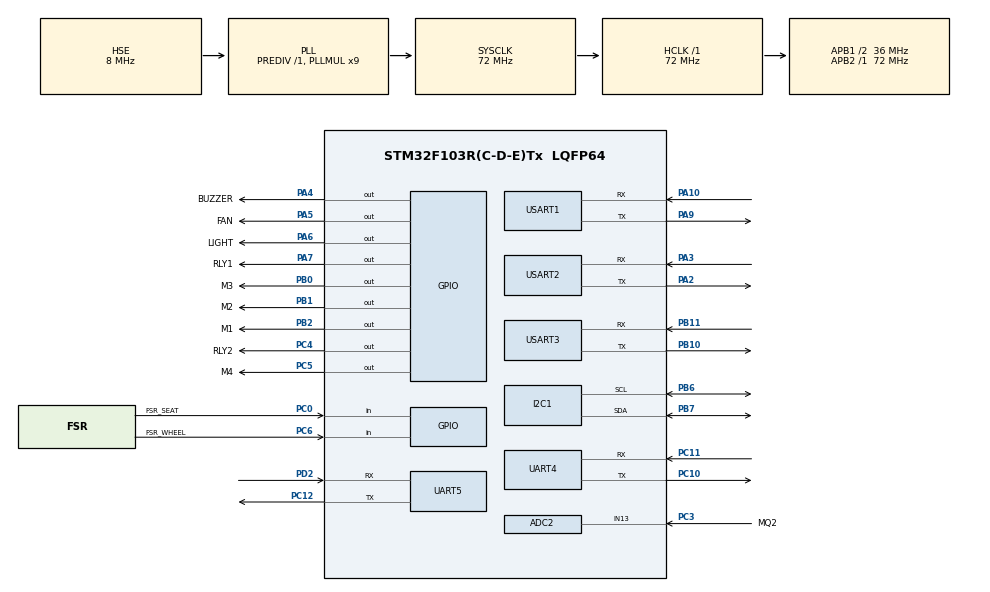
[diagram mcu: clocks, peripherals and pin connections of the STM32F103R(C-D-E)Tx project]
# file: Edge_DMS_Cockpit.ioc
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ADC2.Channel-3\#ChannelRegularConversion=ADC_CHANNEL_13
ADC2.NbrOfConversionFlag=1
ADC2.Rank-3\#ChannelRegularConversion=1
ADC2.SamplingTime-3\#ChannelRegularConversion=ADC_SAMPLETIME_1CYCLE_5
Dma.Request0=USART1_TX
Dma.Request1=USART1_RX
Dma.Request2=USART2_RX
Dma.USART1_RX.1.Direction=DMA_PERIPH_TO_MEMORY
Dma.USART1_RX.1.Instance=DMA1_Channel5
Dma.USART1_RX.1.MemDataAlignment=DMA_MDATAALIGN_BYTE
Dma.USART1_RX.1.MemInc=DMA_MINC_ENABLE
Dma.USART1_RX.1.Mode=DMA_NORMAL
Dma.USART1_RX.1.PeriphDataAlignment=DMA_PDATAALIGN_BYTE
Dma.USART1_RX.1.PeriphInc=DMA_PINC_DISABLE
Dma.USART1_RX.1.Priority=DMA_PRIORITY_HIGH
Dma.USART1_TX.0.Direction=DMA_MEMORY_TO_PERIPH
Dma.USART1_TX.0.Instance=DMA1_Channel4
Dma.USART1_TX.0.MemDataAlignment=DMA_MDATAALIGN_BYTE
Dma.USART1_TX.0.MemInc=DMA_MINC_ENABLE
Dma.USART1_TX.0.Mode=DMA_NORMAL
Dma.USART1_TX.0.PeriphDataAlignment=DMA_PDATAALIGN_BYTE
Dma.USART1_TX.0.PeriphInc=DMA_PINC_DISABLE
Dma.USART1_TX.0.Priority=DMA_PRIORITY_MEDIUM
Dma.USART2_RX.2.Direction=DMA_PERIPH_TO_MEMORY
Dma.USART2_RX.2.Instance=DMA1_Channel6
Dma.USART2_RX.2.MemDataAlignment=DMA_MDATAALIGN_BYTE
Dma.USART2_RX.2.MemInc=DMA_MINC_ENABLE
Dma.USART2_RX.2.Mode=DMA_NORMAL
Dma.USART2_RX.2.PeriphDataAlignment=DMA_PDATAALIGN_BYTE
Dma.USART2_RX.2.PeriphInc=DMA_PINC_DISABLE
Dma.USART2_RX.2.Priority=DMA_PRIORITY_MEDIUM
FREERTOS.Mutexes01=DataBusMutex,Dynamic,NULL,Available
FREERTOS.Tasks01=defaultTask,8,128,StartDefaultTask,Default,NULL,Dynamic,NULL,NULL;RadarTask,24,512,StartRadarTask,Default,NULL,Dynamic,NULL,NULL;Task_Report,24,128,StartReportTask,Default,NULL,Dynamic,NULL,NULL;Task_Parse,32,128,StartParseTask,Default,NULL,Dynamic,NULL,NULL;Task_Sensor,40,128,StartSensorTask,Default,NULL,Dynamic,NULL,NULL;TASK_HMI,24,128,StartHmiTask,Default,NULL,Dynamic,NULL,NULL;Task_Voice,24,128,StartVoiceTask,Default,NULL,Dynamic,NULL,NULL
FREERTOS.configTOTAL_HEAP_SIZE=8192
Mcu.Family=STM32F1
Mcu.Name=STM32F103R(C-D-E)Tx
Mcu.Package=LQFP64
NVIC.DMA1_Channel4_IRQn=true\:5\:0\:false\:false\:true\:true\:false\:true\:true
NVIC.DMA1_Channel5_IRQn=true\:5\:0\:false\:false\:true\:true\:false\:true\:true
NVIC.DMA1_Channel6_IRQn=true\:5\:0\:false\:false\:true\:true\:false\:true\:true
NVIC.PriorityGroup=NVIC_PRIORITYGROUP_4
NVIC.TIM6_IRQn=true\:15\:0\:false\:false\:true\:false\:false\:true\:true
NVIC.TimeBase=TIM6_IRQn
NVIC.TimeBaseIP=TIM6
NVIC.UART4_IRQn=true\:5\:0\:false\:false\:true\:true\:true\:true\:true
NVIC.UART5_IRQn=true\:5\:0\:false\:false\:true\:true\:true\:true\:true
NVIC.USART1_IRQn=true\:5\:0\:false\:false\:true\:true\:true\:true\:true
NVIC.USART2_IRQn=true\:5\:0\:false\:false\:true\:true\:true\:true\:true
NVIC.USART3_IRQn=true\:5\:0\:false\:false\:true\:true\:true\:true\:true
PA10.Mode=Asynchronous
PA10.Signal=USART1_RX
PA13.Mode=Serial_Wire
PA13.Signal=SYS_JTMS-SWDIO
PA14.Mode=Serial_Wire
PA14.Signal=SYS_JTCK-SWCLK
PA2.Mode=Asynchronous
PA2.Signal=USART2_TX
PA3.Mode=Asynchronous
PA3.Signal=USART2_RX
PA4.GPIO_Label=BUZZER
PA4.Signal=GPIO_Output
PA5.GPIO_Label=FAN
PA5.Signal=GPIO_Output
PA6.GPIO_Label=LIGHT
PA6.Signal=GPIO_Output
PA7.GPIO_Label=RLY1
PA7.Signal=GPIO_Output
PA9.Mode=Asynchronous
PA9.Signal=USART1_TX
PB0.GPIO_Label=M3
PB0.Signal=GPIO_Output
PB1.GPIO_Label=M2
PB1.Signal=GPIO_Output
PB10.Mode=Asynchronous
PB10.Signal=USART3_TX
PB11.Mode=Asynchronous
PB11.Signal=USART3_RX
PB2.GPIO_Label=M1
PB2.Signal=GPIO_Output
PB6.Mode=I2C
PB6.Signal=I2C1_SCL
PB7.Mode=I2C
PB7.Signal=I2C1_SDA
PC0.GPIO_Label=FSR_SEAT
PC0.Signal=GPIO_Input
PC10.Mode=Asynchronous
PC10.Signal=UART4_TX
PC11.Mode=Asynchronous
PC11.Signal=UART4_RX
PC12.Mode=Asynchronous
PC12.Signal=UART5_TX
PC14-OSC32_IN.Mode=LSE-External-Clock-Source
PC14-OSC32_IN.Signal=RCC_OSC32_IN
PC15-OSC32_OUT.Mode=LSE-External-Clock-Source
PC15-OSC32_OUT.Signal=RCC_OSC32_OUT
PC3.GPIO_Label=MQ2
PC3.Signal=ADCx_IN13
PC4.GPIO_Label=RLY2
PC4.Signal=GPIO_Output
PC5.GPIO_Label=M4
PC5.Signal=GPIO_Output
PC6.GPIO_Label=FSR_WHEEL
PC6.Signal=GPIO_Input
PD0-OSC_IN.Mode=HSE-External-Oscillator
PD0-OSC_IN.Signal=RCC_OSC_IN
PD1-OSC_OUT.Mode=HSE-External-Oscillator
PD1-OSC_OUT.Signal=RCC_OSC_OUT
PD2.Mode=Asynchronous
PD2.Signal=UART5_RX
ProjectManager.HeapSize=0x200
ProjectManager.StackSize=0x400
ProjectManager.TargetToolchain=MDK-ARM V5.32
RCC.ADCPresc=RCC_ADCPCLK2_DIV6
RCC.AHBFreq_Value=72000000
RCC.APB1CLKDivider=RCC_HCLK_DIV2
RCC.APB1Freq_Value=36000000
RCC.APB1TimFreq_Value=72000000
RCC.APB2Freq_Value=72000000
RCC.APB2TimFreq_Value=72000000
RCC.HCLKFreq_Value=72000000
RCC.PLLMUL=RCC_PLL_MUL9
RCC.PLLSourceVirtual=RCC_PLLSOURCE_HSE
RCC.SYSCLKFreq_VALUE=72000000
RCC.SYSCLKSource=RCC_SYSCLKSOURCE_PLLCLK
RCC.USBFreq_Value=72000000
SH.ADCx_IN13.0=ADC2_IN13,IN13
UART4.VirtualMode=Asynchronous
UART5.VirtualMode=Asynchronous
USART1.VirtualMode=VM_ASYNC
USART2.VirtualMode=VM_ASYNC
USART3.VirtualMode=VM_ASYNC
VP_FREERTOS_VS_CMSIS_V2.Mode=CMSIS_V2
VP_SYS_VS_tim6.Mode=TIM6
board=custom

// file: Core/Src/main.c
/* USER CODE BEGIN Header */
/**
  ******************************************************************************
  * @file           : main.c
  * @brief          : Main program body
  ******************************************************************************
  * @attention
  *
  * Copyright (c) 2026 STMicroelectronics.
  * All rights reserved.
  *
  * This software is licensed under terms that can be found in the LICENSE file
  * in the root directory of this software component.
  * If no LICENSE file comes with this software, it is provided AS-IS.
  *
  ******************************************************************************
  */
/* USER CODE END Header */
#include "main.h"
#include "cmsis_os.h"
#include "adc.h"
#include "dma.h"
#include "i2c.h"
#include "usart.h"
#include "gpio.h"

/* USER CODE BEGIN Includes */
#include <stdio.h>
#include "bsp_mq2.h"
#include "bsp_sgp30.h"
#include "bsp_stepper.h"
#include "tjc_usart_hmi.h"

#include "app_uart.h"
#include "app_tasks.h"

#include "radar.h"
/* USER CODE END Includes */

void SystemClock_Config(void);
void MX_FREERTOS_Init(void);

/* USER CODE BEGIN 0 */
void Pre_Init_Delay(volatile uint32_t count)
{
    for(uint32_t i = 0; i < count; i++)
    {
        __NOP(); // 插入空指令，防止被编译器优化掉
    }
}
/* USER CODE END 0 */

int main(void)
{

  /* USER CODE BEGIN 1 */
	Pre_Init_Delay(1000000);

  /* USER CODE END 1 */

  /* MCU Configuration--------------------------------------------------------*/

  /* Reset of all peripherals, Initializes the Flash interface and the Systick. */
  HAL_Init();

  /* Configure the system clock */
  SystemClock_Config();

  /* Initialize all configured peripherals */
  MX_GPIO_Init();
  MX_DMA_Init();
  MX_ADC2_Init();
  MX_I2C1_Init();
  MX_UART5_Init();
  MX_USART1_UART_Init();
  MX_UART4_Init();
  MX_USART2_UART_Init();
  MX_USART3_UART_Init();
  /* USER CODE BEGIN 2 */
  //  步进电机初始化
  BSP_Stepper_Init();
  // ===================================================
	printf("System init\n");

	//HAL_UART_Receive_IT(&huart2, &rx_byte, 1);//开启雷达接收中断
	//HAL_UART_Receive_DMA(&huart2, &rx_byte, 1);

	BSP_MQ2_Init();
	BSP_SGP30_Init();

	//启动串口 DMA 接收！

  /* USER CODE END 2 */

  /* Init scheduler */
  osKernelInitialize();  /* Call init function for freertos objects (in cmsis_os2.c) */
  MX_FREERTOS_Init();

  /* Start scheduler */
  osKernelStart();

  /* We should never get here as control is now taken by the scheduler */

  /* Infinite loop */
  while (1)
  {

  }
}

void SystemClock_Config(void)
{
  RCC_OscInitTypeDef RCC_OscInitStruct = {0};
  RCC_ClkInitTypeDef RCC_ClkInitStruct = {0};
  RCC_PeriphCLKInitTypeDef PeriphClkInit = {0};

  /** Initializes the RCC Oscillators according to the specified parameters
  * in the RCC_OscInitTypeDef structure.
  */
  RCC_OscInitStruct.OscillatorType = RCC_OSCILLATORTYPE_HSE;
  RCC_OscInitStruct.HSEState = RCC_HSE_ON;
  RCC_OscInitStruct.HSEPredivValue = RCC_HSE_PREDIV_DIV1;
  RCC_OscInitStruct.HSIState = RCC_HSI_ON;
  RCC_OscInitStruct.PLL.PLLState = RCC_PLL_ON;
  RCC_OscInitStruct.PLL.PLLSource = RCC_PLLSOURCE_HSE;
  RCC_OscInitStruct.PLL.PLLMUL = RCC_PLL_MUL9;
  if (HAL_RCC_OscConfig(&RCC_OscInitStruct) != HAL_OK)
  {
    Error_Handler();
  }

  /** Initializes the CPU, AHB and APB buses clocks
  */
  RCC_ClkInitStruct.ClockType = RCC_CLOCKTYPE_HCLK|RCC_CLOCKTYPE_SYSCLK
                              |RCC_CLOCKTYPE_PCLK1|RCC_CLOCKTYPE_PCLK2;
  RCC_ClkInitStruct.SYSCLKSource = RCC_SYSCLKSOURCE_PLLCLK;
  RCC_ClkInitStruct.AHBCLKDivider = RCC_SYSCLK_DIV1;
  RCC_ClkInitStruct.APB1CLKDivider = RCC_HCLK_DIV2;
  RCC_ClkInitStruct.APB2CLKDivider = RCC_HCLK_DIV1;

  if (HAL_RCC_ClockConfig(&RCC_ClkInitStruct, FLASH_LATENCY_2) != HAL_OK)
  {
    Error_Handler();
  }
  PeriphClkInit.PeriphClockSelection = RCC_PERIPHCLK_ADC;
  PeriphClkInit.AdcClockSelection = RCC_ADCPCLK2_DIV6;
  if (HAL_RCCEx_PeriphCLKConfig(&PeriphClkInit) != HAL_OK)
  {
    Error_Handler();
  }
}

/* USER CODE BEGIN 4 */
int fputc(int ch, FILE *f)
{
    HAL_UART_Transmit(&huart1, (uint8_t*)&ch, 1, HAL_MAX_DELAY);
    return ch;
}

/* USER CODE END 4 */

void HAL_TIM_PeriodElapsedCallback(TIM_HandleTypeDef *htim)
{
  if (htim->Instance == TIM6)
  {
    HAL_IncTick();
  }
}

void Error_Handler(void)
{
  __disable_irq();
  while (1)
  {
  }
}

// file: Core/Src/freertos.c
/* USER CODE BEGIN Header */
/**
  ******************************************************************************
  * File Name          : freertos.c
  * Description        : Code for freertos applications
  ******************************************************************************
  * @attention
  *
  * Copyright (c) 2026 STMicroelectronics.
  * All rights reserved.
  *
  * This software is licensed under terms that can be found in the LICENSE file
  * in the root directory of this software component.
  * If no LICENSE file comes with this software, it is provided AS-IS.
  *
  ******************************************************************************
  */
/* USER CODE END Header */

#include "FreeRTOS.h"
#include "task.h"
#include "main.h"
#include "cmsis_os.h"

/* USER CODE BEGIN Includes */
#include "app_tasks.h"
#include "radar.h"
#include <stdio.h>
#include "app_uart.h"
#include "asr_uart3.h"
/* USER CODE END Includes */

/* Definitions for defaultTask */
osThreadId_t defaultTaskHandle;
const osThreadAttr_t defaultTask_attributes = {
  .name = "defaultTask",
  .stack_size = 128 * 4,
  .priority = (osPriority_t) osPriorityLow,
};
/* Definitions for RadarTask */
osThreadId_t RadarTaskHandle;
const osThreadAttr_t RadarTask_attributes = {
  .name = "RadarTask",
  .stack_size = 512 * 4,
  .priority = (osPriority_t) osPriorityNormal,
};
/* Definitions for Task_Report */
osThreadId_t Task_ReportHandle;
const osThreadAttr_t Task_Report_attributes = {
  .name = "Task_Report",
  .stack_size = 128 * 4,
  .priority = (osPriority_t) osPriorityNormal,
};
/* Definitions for Task_Parse */
osThreadId_t Task_ParseHandle;
const osThreadAttr_t Task_Parse_attributes = {
  .name = "Task_Parse",
  .stack_size = 128 * 4,
  .priority = (osPriority_t) osPriorityAboveNormal,
};
/* Definitions for Task_Sensor */
osThreadId_t Task_SensorHandle;
const osThreadAttr_t Task_Sensor_attributes = {
  .name = "Task_Sensor",
  .stack_size = 128 * 4,
  .priority = (osPriority_t) osPriorityHigh,
};
/* Definitions for TASK_HMI */
osThreadId_t TASK_HMIHandle;
const osThreadAttr_t TASK_HMI_attributes = {
  .name = "TASK_HMI",
  .stack_size = 128 * 4,
  .priority = (osPriority_t) osPriorityNormal,
};
/* Definitions for Task_Voice */
osThreadId_t Task_VoiceHandle;
const osThreadAttr_t Task_Voice_attributes = {
  .name = "Task_Voice",
  .stack_size = 128 * 4,
  .priority = (osPriority_t) osPriorityNormal,
};
/* Definitions for DataBusMutex */
osMutexId_t DataBusMutexHandle;
const osMutexAttr_t DataBusMutex_attributes = {
  .name = "DataBusMutex"
};

void StartDefaultTask(void *argument);
void StartRadarTask(void *argument);
void StartReportTask(void *argument);
void StartParseTask(void *argument);
void StartSensorTask(void *argument);
void StartHmiTask(void *argument);
void StartVoiceTask(void *argument);

void MX_FREERTOS_Init(void); /* (MISRA C 2004 rule 8.1) */

void MX_FREERTOS_Init(void) {
  /* Create the mutex(es) */
  /* creation of DataBusMutex */
  DataBusMutexHandle = osMutexNew(&DataBusMutex_attributes);

  /* Create the thread(s) */
  /* creation of defaultTask */
  defaultTaskHandle = osThreadNew(StartDefaultTask, NULL, &defaultTask_attributes);

  /* creation of RadarTask */
  RadarTaskHandle = osThreadNew(StartRadarTask, NULL, &RadarTask_attributes);

  /* creation of Task_Report */
  Task_ReportHandle = osThreadNew(StartReportTask, NULL, &Task_Report_attributes);

  /* creation of Task_Parse */
  Task_ParseHandle = osThreadNew(StartParseTask, NULL, &Task_Parse_attributes);

  /* creation of Task_Sensor */
  Task_SensorHandle = osThreadNew(StartSensorTask, NULL, &Task_Sensor_attributes);

  /* creation of TASK_HMI */
  TASK_HMIHandle = osThreadNew(StartHmiTask, NULL, &TASK_HMI_attributes);

  /* creation of Task_Voice */
  Task_VoiceHandle = osThreadNew(StartVoiceTask, NULL, &Task_Voice_attributes);

}

void StartDefaultTask(void *argument)
{
  /* USER CODE BEGIN StartDefaultTask */
  /* Infinite loop */
  for(;;)
  {

    osDelay(1000);
  }
  /* USER CODE END StartDefaultTask */
}

void StartRadarTask(void *argument)
{
  /* USER CODE BEGIN StartRadarTask */
	Radar_Init();
  Task_Radar();
  /* USER CODE END StartRadarTask */
}

void StartReportTask(void *argument)
{
  /* USER CODE BEGIN StartReportTask */
  Task_Report(argument); //
  /* USER CODE END StartReportTask */
}

void StartParseTask(void *argument)
{
  /* USER CODE BEGIN StartParseTask */
  App_UART_Init();
  Task_Parse(argument);
  /* USER CODE END StartParseTask */
}

void StartSensorTask(void *argument)
{
  /* USER CODE BEGIN StartSensorTask */
  /* Infinite loop */
   Task_Sensor(argument);
  /* USER CODE END StartSensorTask */
}

void StartHmiTask(void *argument)
{
  /* USER CODE BEGIN StartHmiTask */
  /* Infinite loop */
  Task_Screen(argument);
  /* USER CODE END StartHmiTask */
}

void StartVoiceTask(void *argument)
{
  /* USER CODE BEGIN StartVoiceTask */
  ASR_UART3_InitReceive();

    for(;;)
    {
        ASR_ProcessRxData();
        osDelay(100);
    }
  /* USER CODE END StartVoiceTask */
}
